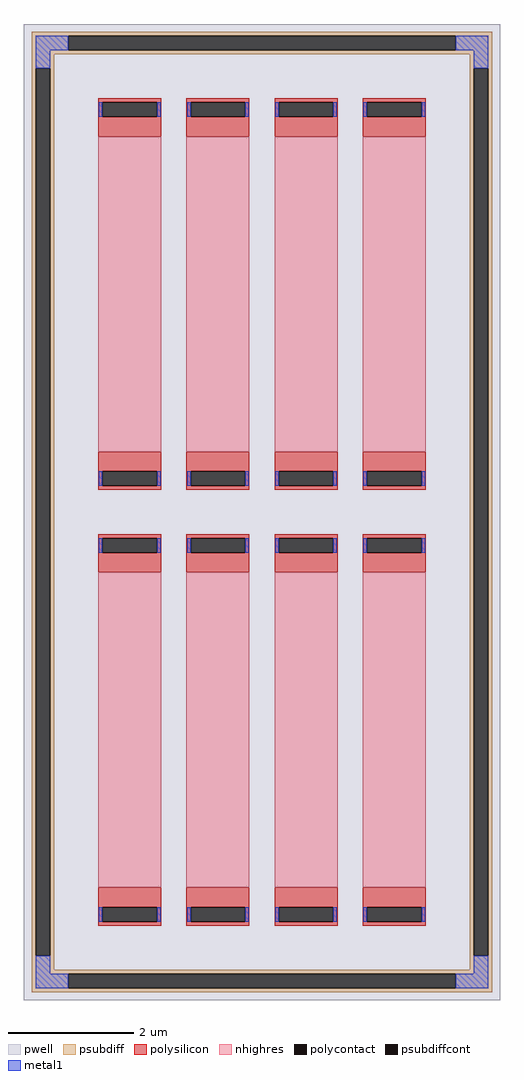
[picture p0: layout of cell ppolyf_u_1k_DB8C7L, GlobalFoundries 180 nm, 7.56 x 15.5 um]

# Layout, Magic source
magic
tech gf180mcuD
magscale 1 10
<< pwell >>
rect -756 -1550 756 1550
<< psubdiff >>
rect -732 1513 732 1526
rect -732 1467 -616 1513
rect 616 1467 732 1513
rect -732 1454 732 1467
rect -732 1410 -660 1454
rect -732 -1410 -719 1410
rect -673 -1410 -660 1410
rect 660 1410 732 1454
rect -732 -1454 -660 -1410
rect 660 -1410 673 1410
rect 719 -1410 732 1410
rect 660 -1454 732 -1410
rect -732 -1467 732 -1454
rect -732 -1513 -616 -1467
rect 616 -1513 732 -1467
rect -732 -1526 732 -1513
<< psubdiffcont >>
rect -616 1467 616 1513
rect -719 -1410 -673 1410
rect 673 -1410 719 1410
rect -616 -1513 616 -1467
<< polysilicon >>
rect -520 1301 -320 1314
rect -520 1255 -507 1301
rect -333 1255 -320 1301
rect -520 1192 -320 1255
rect -520 129 -320 192
rect -520 83 -507 129
rect -333 83 -320 129
rect -520 70 -320 83
rect -240 1301 -40 1314
rect -240 1255 -227 1301
rect -53 1255 -40 1301
rect -240 1192 -40 1255
rect -240 129 -40 192
rect -240 83 -227 129
rect -53 83 -40 129
rect -240 70 -40 83
rect 40 1301 240 1314
rect 40 1255 53 1301
rect 227 1255 240 1301
rect 40 1192 240 1255
rect 40 129 240 192
rect 40 83 53 129
rect 227 83 240 129
rect 40 70 240 83
rect 320 1301 520 1314
rect 320 1255 333 1301
rect 507 1255 520 1301
rect 320 1192 520 1255
rect 320 129 520 192
rect 320 83 333 129
rect 507 83 520 129
rect 320 70 520 83
rect -520 -83 -320 -70
rect -520 -129 -507 -83
rect -333 -129 -320 -83
rect -520 -192 -320 -129
rect -520 -1255 -320 -1192
rect -520 -1301 -507 -1255
rect -333 -1301 -320 -1255
rect -520 -1314 -320 -1301
rect -240 -83 -40 -70
rect -240 -129 -227 -83
rect -53 -129 -40 -83
rect -240 -192 -40 -129
rect -240 -1255 -40 -1192
rect -240 -1301 -227 -1255
rect -53 -1301 -40 -1255
rect -240 -1314 -40 -1301
rect 40 -83 240 -70
rect 40 -129 53 -83
rect 227 -129 240 -83
rect 40 -192 240 -129
rect 40 -1255 240 -1192
rect 40 -1301 53 -1255
rect 227 -1301 240 -1255
rect 40 -1314 240 -1301
rect 320 -83 520 -70
rect 320 -129 333 -83
rect 507 -129 520 -83
rect 320 -192 520 -129
rect 320 -1255 520 -1192
rect 320 -1301 333 -1255
rect 507 -1301 520 -1255
rect 320 -1314 520 -1301
<< polycontact >>
rect -507 1255 -333 1301
rect -507 83 -333 129
rect -227 1255 -53 1301
rect -227 83 -53 129
rect 53 1255 227 1301
rect 53 83 227 129
rect 333 1255 507 1301
rect 333 83 507 129
rect -507 -129 -333 -83
rect -507 -1301 -333 -1255
rect -227 -129 -53 -83
rect -227 -1301 -53 -1255
rect 53 -129 227 -83
rect 53 -1301 227 -1255
rect 333 -129 507 -83
rect 333 -1301 507 -1255
<< nhighres >>
rect -520 192 -320 1192
rect -240 192 -40 1192
rect 40 192 240 1192
rect 320 192 520 1192
rect -520 -1192 -320 -192
rect -240 -1192 -40 -192
rect 40 -1192 240 -192
rect 320 -1192 520 -192
<< metal1 >>
rect -719 1467 -616 1513
rect 616 1467 719 1513
rect -719 1410 -673 1467
rect 673 1410 719 1467
rect -518 1255 -507 1301
rect -333 1255 -322 1301
rect -238 1255 -227 1301
rect -53 1255 -42 1301
rect 42 1255 53 1301
rect 227 1255 238 1301
rect 322 1255 333 1301
rect 507 1255 518 1301
rect -518 83 -507 129
rect -333 83 -322 129
rect -238 83 -227 129
rect -53 83 -42 129
rect 42 83 53 129
rect 227 83 238 129
rect 322 83 333 129
rect 507 83 518 129
rect -518 -129 -507 -83
rect -333 -129 -322 -83
rect -238 -129 -227 -83
rect -53 -129 -42 -83
rect 42 -129 53 -83
rect 227 -129 238 -83
rect 322 -129 333 -83
rect 507 -129 518 -83
rect -518 -1301 -507 -1255
rect -333 -1301 -322 -1255
rect -238 -1301 -227 -1255
rect -53 -1301 -42 -1255
rect 42 -1301 53 -1255
rect 227 -1301 238 -1255
rect 322 -1301 333 -1255
rect 507 -1301 518 -1255
rect -719 -1467 -673 -1410
rect 673 -1467 719 -1410
rect -719 -1513 -616 -1467
rect 616 -1513 719 -1467
<< properties >>
string FIXED_BBOX -696 -1490 696 1490
string gencell ppolyf_u_1k
string library gf180mcu
string parameters w 1.000 l 5.000 m 2 nx 4 wmin 1.000 lmin 1.000 class resistor rho 1000 val 5.0k dummy 0 dw 0.0 term 0.0 sterm 0.0 caplen 0.4 snake 0 glc 1 grc 1 gtc 1 gbc 1 roverlap 0 endcov 100 full_metal 1 compatible {ppolyf_u_1k ppolyf_u_1k_6p0}
string ppolyf_u_1k_DB8C7L parameters
<< end >>
